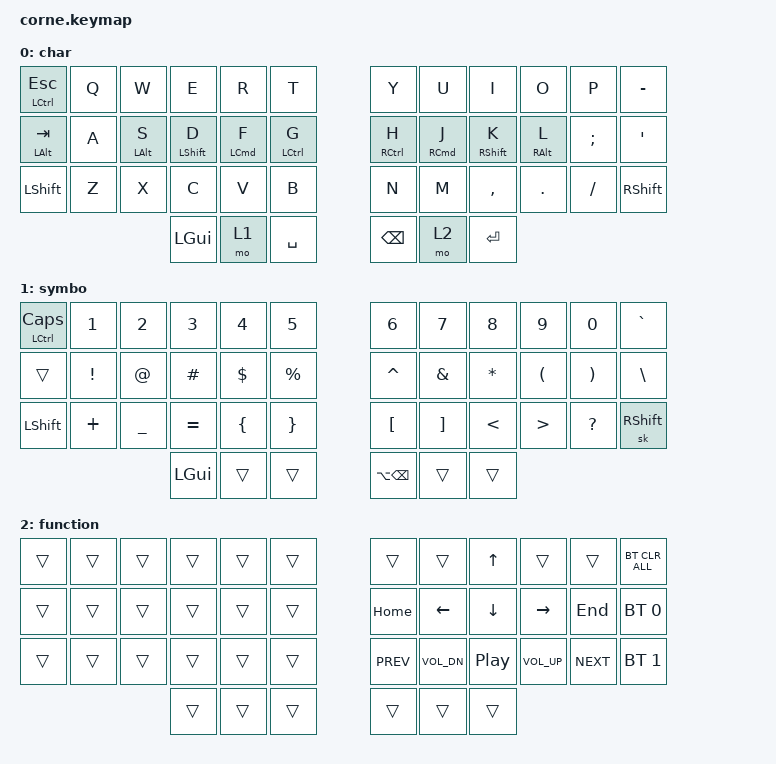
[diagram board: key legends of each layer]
/*
 * Copyright (c) 2020 The ZMK Contributors
 *
 * SPDX-License-Identifier: MIT
 */

#include <behaviors.dtsi>
#include <dt-bindings/zmk/bt.h>
#include <dt-bindings/zmk/keys.h>

/** Change tapping time to 400ms */
&mt {
    tapping-term-ms = <400>;
};

/ {
    keymap {
        compatible = "zmk,keymap";

        char {
            // -----------------------------------------------------------------------------------------
            // | CTRL/ESC      |  Q         |  W     |  E     |  R      |  T  |       |  Y      |  U   |  I       |  O     |  P      |  -    |
            // | ALT/TAB       |  A         |  S     |  D     |  F      |  G  |       |  H      |  J   |  K       |  L     |  ;      |  '    |
            // | Shift         |  Z         |  X     |  C     |  V      |  B  |       |  N      |  M   |  ,       |  .     |  /      | shift |
            //                                       | GUI    | LWR     | SPC |       | BKSP    | RSE  | ENT      |

            bindings = <
&mt LCTRL ESC  &kp Q  &kp W           &kp E             &kp R               &kp T          &kp Y        &kp U                &kp I              &kp O            &kp P     &kp MINUS
&mt LALT TAB   &kp A  &mt LEFT_ALT S  &mt LEFT_SHIFT D  &mt LEFT_COMMAND F  &mt LCTRL G    &mt RCTRL H  &mt RIGHT_COMMAND J  &mt RIGHT_SHIFT K  &mt RIGHT_ALT L  &kp SEMI  &kp SQT
&kp LSHFT      &kp Z  &kp X           &kp C             &kp V               &kp B          &kp N        &kp M                &kp COMMA          &kp DOT          &kp FSLH  &kp RSHFT
                                      &kp LGUI          &mo 1               &kp SPACE      &kp BSPC     &mo 2                &kp RET
            >;
        };

        symbo {
            // -----------------------------------------------------------------------------------------
            // | CTRL/CAPS     |  1      |  2       |  3      |  4       |  5       |  |    6        |  7       |  8       |  9      |  0      |  `    |
            // | ALT/TAB       |  !      |  @       |  #      |  $       |  %       |  |    ^        |  &       |  *       |  (      |  )      |  \    |
            // |               |         |  _       |  =      |  {       |  }       |  |    [        |  ]       |  <       |  >      |  ?      |       |
            //                                      | GUI     |          | SPC      |  | ALT+BKSP    |          | ALT      |

            bindings = <
&mt LCTRL CAPS  &kp N1    &kp N2     &kp N3     &kp N4    &kp N5       &kp N6        &kp N7    &kp N8     &kp N9    &kp N0     &kp GRAVE
&trans          &kp EXCL  &kp AT     &kp HASH   &kp DLLR  &kp PRCNT    &kp CARET     &kp AMPS  &kp ASTRK  &kp LPAR  &kp RPAR   &kp BSLH
&kp LSHFT       &kp PLUS  &kp UNDER  &kp EQUAL  &kp LBRC  &kp RBRC     &kp LBKT      &kp RBKT  &kp LT     &kp GT    &kp QMARK  &sk RSHFT
                                     &kp LGUI   &trans    &trans       &kp LA(BSPC)  &trans    &trans
            >;
        };

        function {
            // -----------------------------------------------------------------------------------------
            // |          |             |             |           |              |           |   |            |              |   up     |             | BT1       | BT clear all  |
            // |          |             |             |           |              |           |   | home       |   left       |  down    |  right      |  end      |               |
            // |          |             |             |           |              |           |   | prev       | volume -     |  play    | volume +    |  next     |               |
            //                                        | GUI       | LALT         | SPC       |   |            |              |          |

            bindings = <
&trans  &trans  &trans  &trans  &trans  &trans    &trans      &trans        &kp UP    &trans        &trans      &bt BT_CLR_ALL
&trans  &trans  &trans  &trans  &trans  &trans    &kp HOME    &kp LEFT      &kp DOWN  &kp RIGHT     &kp END     &bt BT_SEL 0
&trans  &trans  &trans  &trans  &trans  &trans    &kp C_PREV  &kp C_VOL_DN  &kp C_PP  &kp C_VOL_UP  &kp C_NEXT  &bt BT_SEL 1
                        &trans  &trans  &trans    &trans      &trans        &trans
            >;
        };
    };
};
